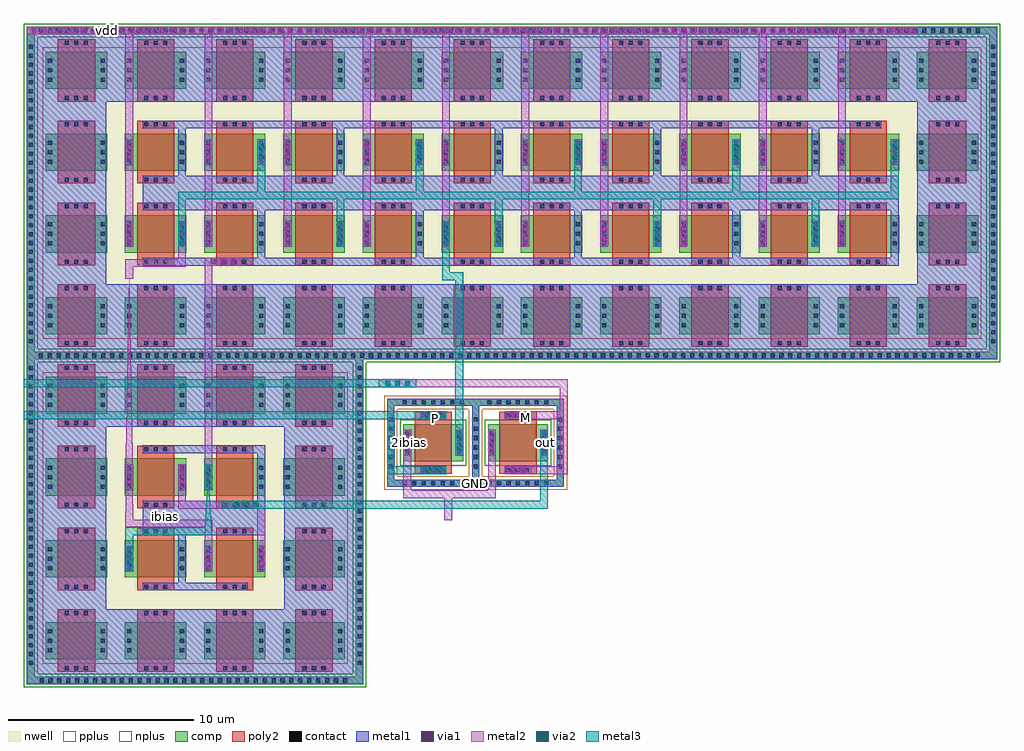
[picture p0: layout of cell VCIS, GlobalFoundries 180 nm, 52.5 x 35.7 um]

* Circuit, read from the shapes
.subckt VCIS 2ibias GND M P ibias out vdd
XM1 vdd P 2ibias GND nfet_03v3 w=2u l=2u
XM2 out M 2ibias GND nfet_03v3 w=2u l=2u
XM3 vdd vdd vdd vdd pfet_03v3 w=2u l=2u m=40
XM4 ibias ibias n1 vdd pfet_03v3 w=2u l=2u m=2
XM5 out ibias n2 vdd pfet_03v3 w=2u l=2u m=2
XM6 n3 n1 vdd vdd pfet_03v3 w=2u l=2u m=10
XM7 n1 n1 vdd vdd pfet_03v3 w=2u l=2u m=10
.ends

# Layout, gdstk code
from math import pi, radians
import gdstk
lib = gdstk.Library(unit=1e-6, precision=1e-09)
def R(c, l, rs):  # rectangles x0, y0, x1, y1
    for r in rs: c.add(gdstk.rectangle(r[:2], r[2:], *l))
def A(c, l, x, y, w, h, nx, ny, dx, dy):  # array of equal rectangles
    R(c, l, [(x+i*dx, y+j*dy, x+i*dx+w, y+j*dy+h) for i in range(nx) for j in range(ny)])
def P(c, l, *ps):  # polygons
    for p in ps: c.add(gdstk.Polygon(p, *l))
nwell = (21, 0)
comp = (22, 0)
poly2 = (30, 0)
pplus = (31, 0)
nplus = (32, 0)
contact = (33, 0)
metal1 = (34, 0)
via1 = (35, 0)
metal2 = (36, 0)
via2 = (38, 0)
metal3 = (42, 0)

pfet_1 = lib.new_cell('pfet$1')
R(pfet_1, nwell, [(-0.9,-0.44,3.28,2.44)])
R(pfet_1, comp, [(-0.46,0,0,2), (0,0,2.38,2), (2.38,0,2.84,2)])
R(pfet_1, poly2, [(0.19,-0.68,2.19,-0.3), (0.19,-0.3,2.19,2.3), (0.19,2.3,2.19,2.68)])
R(pfet_1, pplus, [(-0.63,-0.24,3.01,2.24)])
A(pfet_1, contact, 0.57, -0.6, 0.22, 0.22, 3, 2, 0.51, 2.98)
A(pfet_1, contact, -0.34, 0.38, 0.22, 0.22, 1, 3, 0, 0.51)
A(pfet_1, contact, 2.5, 0.38, 0.22, 0.22, 1, 3, 0, 0.51)
R(pfet_1, metal1, [(0.49,-0.68,1.89,-0.3), (-0.42,0.3,-0.04,1.7), (2.42,0.3,2.8,1.7), (0.49,2.3,1.89,2.68)])

via_dev = lib.new_cell('via_dev')

via_dev_3 = lib.new_cell('via_dev$3')
R(via_dev_3, metal1, [(0,0,1.4,0.42)])
R(via_dev_3, via1, [(0.305,0.08,0.565,0.34), (0.835,0.08,1.095,0.34)])
R(via_dev_3, metal2, [(0,0,1.4,0.42)])

base1 = lib.new_cell('Base1')
base1.add(gdstk.Reference(pfet_1, (0.9,0.68)))
base1.add(gdstk.Reference(via_dev, (4.46,2.13), rotation=pi/2))
base1.add(gdstk.Reference(via_dev_3, (3.72,0.98), rotation=pi/2))
base1.add(gdstk.Reference(via_dev_3, (0.88,18.46), rotation=pi/2))

via_dev_6 = lib.new_cell('via_dev$6')
R(via_dev_6, comp, [(0,0,0.42,17)])
A(via_dev_6, contact, 0.1, 0.23, 0.22, 0.22, 1, 35, 0, 0.48)
R(via_dev_6, metal1, [(0,0,0.42,17)])

via_dev_7 = lib.new_cell('via_dev$7')
R(via_dev_7, comp, [(0,0,0.42,47)])
A(via_dev_7, contact, 0.1, 0.35, 0.22, 0.22, 1, 97, 0, 0.48)
R(via_dev_7, metal1, [(0,0,0.42,47)])

via_dev_9 = lib.new_cell('via_dev$9')
R(via_dev_9, metal1, [(0,0,0.42,47.92)])
A(via_dev_9, via1, 0.08, 0.245, 0.26, 0.26, 1, 90, 0, 0.53)
R(via_dev_9, metal2, [(0,0,0.42,47.92)])

nfet_1 = lib.new_cell('nfet$1')
R(nfet_1, comp, [(-0.42,0,0,2), (0,0,2.38,2), (2.38,0,2.8,2)])
P(nfet_1, comp, [(-1.28,-1.36),(-1.28,-0.98),(-0.9,-0.98),(3.28,-0.98),(3.28,2.98),(-0.9,2.98),(-0.9,-0.98),(-1.28,-0.98),(-1.28,3.36),(3.66,3.36),(3.66,-1.36)])
R(nfet_1, poly2, [(0.19,-0.66,2.19,-0.3), (0.19,-0.3,2.19,2.3), (0.19,2.3,2.19,2.66)])
P(nfet_1, pplus, [(-1.45,-1.53),(-1.45,-0.81),(-0.73,-0.81),(3.11,-0.81),(3.11,2.81),(-0.73,2.81),(-0.73,-0.81),(-1.45,-0.81),(-1.45,3.53),(3.83,3.53),(3.83,-1.53)])
R(nfet_1, nplus, [(-0.59,-0.24,2.97,2.24)])
A(nfet_1, contact, -0.45, -1.28, 0.22, 0.22, 7, 2, 0.51, 4.34)
A(nfet_1, contact, 0.57, -0.59, 0.22, 0.22, 3, 2, 0.51, 2.96)
A(nfet_1, contact, -1.2, -0.385, 0.22, 0.22, 1, 6, 0, 0.51)
A(nfet_1, contact, 3.36, -0.385, 0.22, 0.22, 1, 6, 0, 0.51)
A(nfet_1, contact, -0.32, 0.38, 0.22, 0.22, 1, 3, 0, 0.51)
A(nfet_1, contact, 2.48, 0.38, 0.22, 0.22, 1, 3, 0, 0.51)
R(nfet_1, metal1, [(0.49,-0.67,1.89,-0.29), (-0.4,0.3,-0.02,1.7), (2.4,0.3,2.78,1.7), (0.49,2.29,1.89,2.67)])
P(nfet_1, metal1, [(-1.28,-1.36),(-1.28,-0.98),(-0.9,-0.98),(3.28,-0.98),(3.28,2.98),(-0.9,2.98),(-0.9,-0.98),(-1.28,-0.98),(-1.28,3.36),(3.66,3.36),(3.66,-1.36)])

via_dev_16 = lib.new_cell('via_dev$16')
R(via_dev_16, metal1, [(0,0,0.42,1.4)])
R(via_dev_16, via1, [(0.08,0.305,0.34,0.565), (0.08,0.835,0.34,1.095)])
R(via_dev_16, metal2, [(0,0,0.42,1.4)])

via_dev_19 = lib.new_cell('via_dev$19')
R(via_dev_19, comp, [(0,0,0.42,5)])
A(via_dev_19, contact, 0.1, 0.23, 0.22, 0.22, 1, 10, 0, 0.48)
R(via_dev_19, metal1, [(0,0,0.42,5)])

via_dev_2 = lib.new_cell('via_dev$2')
R(via_dev_2, metal2, [(0,0,1.4,0.42)])
R(via_dev_2, via2, [(0.305,0.08,0.565,0.34), (0.835,0.08,1.095,0.34)])
R(via_dev_2, metal3, [(0,0,1.4,0.42)])

via_dev_5 = lib.new_cell('via_dev$5')
R(via_dev_5, comp, [(0,0,16.6,0.42)])
A(via_dev_5, contact, 0.27, 0.1, 0.22, 0.22, 34, 1, 0.48, 0)
R(via_dev_5, metal1, [(0,0,16.6,0.42)])

via_dev_8 = lib.new_cell('via_dev$8')
R(via_dev_8, metal1, [(0,0,0.42,2)])
A(via_dev_8, via1, 0.08, 0.34, 0.26, 0.26, 1, 3, 0, 0.53)
R(via_dev_8, metal2, [(0,0,0.42,2)])

via_dev_15 = lib.new_cell('via_dev$15')
R(via_dev_15, metal1, [(0,0,1.4,0.42)])
R(via_dev_15, via1, [(0.305,0.08,0.565,0.34), (0.835,0.08,1.095,0.34)])
R(via_dev_15, metal2, [(0,0,1.4,0.42)])
R(via_dev_15, via2, [(0.305,0.08,0.565,0.34), (0.835,0.08,1.095,0.34)])
R(via_dev_15, metal3, [(0,0,1.4,0.42)])

via_dev_12 = lib.new_cell('via_dev$12')
R(via_dev_12, metal2, [(0,0,0.42,2)])
A(via_dev_12, via2, 0.08, 0.34, 0.26, 0.26, 1, 3, 0, 0.53)
R(via_dev_12, metal3, [(0,0,0.42,2)])

via_dev_14 = lib.new_cell('via_dev$14')
R(via_dev_14, metal1, [(0,0,0.42,1.4)])
R(via_dev_14, via1, [(0.08,0.305,0.34,0.565), (0.08,0.835,0.34,1.095)])
R(via_dev_14, metal2, [(0,0,0.42,1.4)])
R(via_dev_14, via2, [(0.08,0.305,0.34,0.565), (0.08,0.835,0.34,1.095)])
R(via_dev_14, metal3, [(0,0,0.42,1.4)])

vcis = lib.new_cell('VCIS')
R(vcis, nwell, [(-6.77,-12.21,11.65,6.01), (-6.04,-11.14,10.92,4.94), (-6.77,5.27,45.73,23.49)])
R(vcis, comp, [(-6.61,-12.05,-6.135,-11.63), (10.745,-12.05,11.49,-11.63), (11.07,-12.05,11.49,-11.235), (-6.61,-11.885,-6.19,-11.275), (-6.61,5.26,-6.19,6.17), (11.07,5.305,11.49,5.765), (10.73,5.43,11.49,5.85), (40.385,5.43,45.57,5.85), (45.15,5.53,45.57,6.06), (-6.61,22.485,-6.19,23.33), (45.15,22.52,45.57,23.18), (40.27,22.91,45.57,23.33)])
R(vcis, pplus, [(-5.77,-10.94,10.65,4.74), (-5.77,6.54,44.73,22.22)])
R(vcis, nplus, [(-6.77,-12.21,11.65,-11.47), (-6.77,-12.07,-6.03,23.49), (10.91,-12.07,11.65,5.87), (-6.63,5.27,45.73,6.01)])
P(vcis, nplus, [(44.99,5.27),(44.99,23.49),(45.73,23.49),(45.73,5.68),(45.73,5.27)],
  [(-6.77,22.75),(-6.77,23.49),(45.73,23.49),(45.73,23.08),(45.73,22.75)])
A(vcis, metal1, -0.39, -11.4, 1.4, 0.42, 3, 2, 4.26, 2.98)
A(vcis, metal1, -0.39, -7, 1.4, 0.42, 3, 2, 4.26, 2.98)
A(vcis, metal1, -0.39, -2.6, 1.4, 0.42, 3, 2, 4.26, 2.98)
A(vcis, metal1, -0.39, 6.08, 1.4, 0.42, 3, 2, 4.26, 2.98)
A(vcis, metal1, 16.65, 6.08, 1.4, 0.42, 3, 2, 4.26, 2.98)
A(vcis, metal1, 29.43, 6.08, 1.4, 0.42, 3, 2, 4.26, 2.98)
A(vcis, metal1, 29.43, 10.48, 1.4, 0.42, 3, 2, 4.26, 4.4)
A(vcis, metal1, -0.39, 14.88, 1.4, 0.42, 3, 2, 4.26, 2.98)
A(vcis, metal1, 16.65, 14.88, 1.4, 0.42, 3, 2, 4.26, 2.98)
R(vcis, metal1, [(-6.61,-12.05,-6.06,-11.63), (-6.61,-12.05,-6.19,-11.21), (10.835,-12.05,11.49,-11.63), (11.07,-11.87,11.49,-11.19), (-6.225,-11.845,11.22,-8), (-4.65,-11.4,-3.25,-10.98), (-4.65,-11.4,-3.25,-10.98), (-0.39,-11.4,1.01,-10.98), (8.13,-11.4,9.53,-10.98), (-6.46,-10.69,-2.34,2.935), (7.22,-9.85,11.285,2.54), (-4.65,-8.42,-3.25,-8), (-4.65,-8.42,-3.25,-8), (-0.39,-8.42,1.01,-8), (8.13,-8.42,9.53,-8), (-4.65,-7,-3.25,-6.58), (-4.65,-7,-3.25,-6.58), (-0.39,-7,1.01,-6.58), (-0.39,-7,5.27,-6.58), (8.13,-7,9.53,-6.58), (-4.65,-4.02,-3.25,-3.6), (-4.65,-4.02,-3.25,-3.6), (-0.39,-4.02,1.01,-3.6), (-0.39,-4.02,6.2,-2.18), (8.13,-4.02,9.53,-3.6), (-4.65,-2.6,-3.25,-2.18), (-4.65,-2.6,-3.25,-2.18), (-0.39,-2.6,1.01,-2.18), (8.13,-2.6,9.53,-2.18), (-4.65,0.38,-3.25,0.8), (-4.65,0.38,-3.25,0.8), (-0.39,0.38,1.01,0.8), (-0.39,0.38,5.27,0.8), (8.13,0.38,9.53,0.8), (-6.41,1.64,-2.34,23.005), (-6.38,1.795,11.125,5.66), (-4.65,1.8,-3.25,2.22), (-4.65,1.8,-3.25,2.22), (-4.65,1.8,-3.25,2.22), (-4.65,1.8,-3.25,2.22), (-0.39,1.8,1.01,2.22), (-0.39,1.8,1.01,2.22), (-0.39,1.8,1.01,2.22), (-0.39,1.8,1.01,2.22), (3.87,1.8,5.27,2.22), (3.87,1.8,5.27,2.22), (8.13,1.8,9.53,2.22), (8.13,1.8,9.53,2.22), (8.13,1.8,9.53,2.22), (8.13,1.8,9.53,2.22), (-4.65,4.78,-3.25,5.2), (-4.65,4.78,-3.25,5.2), (-4.65,4.78,-3.25,5.2), (-4.65,4.78,-3.25,5.2), (-0.39,4.78,1.01,5.2), (-0.39,4.78,1.01,5.2), (-0.39,4.78,1.01,5.2), (-0.39,4.78,1.01,5.2), (3.87,4.78,5.27,5.2), (3.87,4.78,5.27,5.2), (8.13,4.78,9.53,5.2), (8.13,4.78,9.53,5.2), (8.13,4.78,9.53,5.2), (8.13,4.78,9.53,5.2), (11.07,5.225,11.49,5.85), (-6.61,5.23,-6.19,6.165), (10.64,5.43,11.49,5.85), (40.435,5.43,45.57,5.85), (-6.375,5.47,45.425,9.48), (45.15,5.705,45.57,6.405), (-4.65,6.08,-3.25,6.5), (-4.65,6.08,-3.25,6.5), (-0.39,6.08,1.01,6.5), (8.13,6.08,9.53,6.5), (12.39,6.08,13.79,6.5), (12.39,6.08,13.79,6.5), (16.65,6.08,18.05,6.5), (25.17,6.08,26.57,6.5), (29.43,6.08,30.83,6.5), (37.95,6.08,39.35,6.5), (42.21,6.08,43.61,6.5), (42.21,6.08,43.61,6.5), (41.285,6.63,45.35,23.235), (-4.65,9.06,-3.25,9.48), (-4.65,9.06,-3.25,9.48), (-0.39,9.06,1.01,9.48), (8.13,9.06,9.53,9.48), (12.39,9.06,13.79,9.48), (12.39,9.06,13.79,9.48), (16.65,9.06,18.05,9.48), (25.17,9.06,26.57,9.48), (29.43,9.06,30.83,9.48), (37.95,9.06,39.35,9.48), (42.21,9.06,43.61,9.48), (42.21,9.06,43.61,9.48), (-4.65,10.48,-3.25,10.9), (-4.65,10.48,-3.25,10.9), (-4.65,10.48,-3.25,10.9), (-4.65,10.48,-3.25,10.9), (-0.39,10.48,35.09,10.9), (-0.39,10.48,1.01,10.9), (-0.39,10.48,1.01,10.9), (-0.39,10.48,1.01,10.9), (-0.39,10.48,1.01,10.9), (3.87,10.48,5.27,10.9), (3.87,10.48,5.27,10.9), (8.13,10.48,9.53,10.9), (8.13,10.48,9.53,10.9), (8.13,10.48,9.53,10.9), (8.13,10.48,9.53,10.9), (12.39,10.48,13.79,10.9), (12.39,10.48,13.79,10.9), (12.39,10.48,13.79,10.9), (12.39,10.48,13.79,10.9), (16.65,10.48,18.05,10.9), (16.65,10.48,18.05,10.9), (16.65,10.48,18.05,10.9), (16.65,10.48,18.05,10.9), (20.91,10.48,22.31,10.9), (20.91,10.48,22.31,10.9), (25.17,10.48,26.57,10.9), (25.17,10.48,26.57,10.9), (25.17,10.48,26.57,10.9), (25.17,10.48,26.57,10.9), (29.43,10.48,30.83,10.9), (29.43,10.48,30.83,10.9), (29.43,10.48,30.83,10.9), (37.95,10.48,39.35,10.9), (37.95,10.48,39.35,10.9), (37.95,10.48,39.35,10.9), (42.21,10.48,43.61,10.9), (42.21,10.48,43.61,10.9), (42.21,10.48,43.61,10.9), (42.21,10.48,43.61,10.9), (-4.65,13.46,-3.25,13.88), (-4.65,13.46,-3.25,13.88), (-4.65,13.46,-3.25,13.88), (-4.65,13.46,-3.25,13.88), (-0.39,13.46,40.28,15.3), (-0.39,13.46,1.01,13.88), (-0.39,13.46,1.01,13.88), (-0.39,13.46,1.01,13.88), (-0.39,13.46,1.01,13.88), (3.87,13.46,5.27,13.88), (3.87,13.46,5.27,13.88), (8.13,13.46,9.53,13.88), (8.13,13.46,9.53,13.88), (8.13,13.46,9.53,13.88), (8.13,13.46,9.53,13.88), (12.39,13.46,13.79,13.88), (12.39,13.46,13.79,13.88), (12.39,13.46,13.79,13.88), (12.39,13.46,13.79,13.88), (16.65,13.46,18.05,13.88), (16.65,13.46,18.05,13.88), (16.65,13.46,18.05,13.88), (16.65,13.46,18.05,13.88), (20.91,13.46,22.31,13.88), (20.91,13.46,22.31,13.88), (25.17,13.46,26.57,13.88), (25.17,13.46,26.57,13.88), (25.17,13.46,26.57,13.88), (25.17,13.46,26.57,13.88), (29.43,13.46,30.83,13.88), (29.43,13.46,30.83,13.88), (29.43,13.46,30.83,13.88), (29.43,13.46,30.83,13.88), (33.69,13.46,35.09,13.88), (33.69,13.46,35.09,13.88), (37.95,13.46,39.35,13.88), (37.95,13.46,39.35,13.88), (37.95,13.46,39.35,13.88), (37.95,13.46,39.35,13.88), (42.21,13.46,43.61,13.88), (42.21,13.46,43.61,13.88), (42.21,13.46,43.61,13.88), (42.21,13.46,43.61,13.88), (-4.65,14.88,-3.25,15.3), (-4.65,14.88,-3.25,15.3), (-0.39,14.88,1.01,15.3), (8.13,14.88,9.53,15.3), (12.39,14.88,13.79,15.3), (12.39,14.88,13.79,15.3), (16.65,14.88,18.05,15.3), (25.17,14.88,26.57,15.3), (29.43,14.88,30.83,15.3), (37.95,14.88,39.35,15.3), (42.21,14.88,43.61,15.3), (42.21,14.88,43.61,15.3), (-4.65,17.86,-3.25,18.28), (-4.65,17.86,-3.25,18.28), (-0.39,17.86,35.09,18.28), (-0.39,17.86,1.01,18.28), (8.13,17.86,9.53,18.28), (12.39,17.86,13.79,18.28), (12.39,17.86,13.79,18.28), (16.65,17.86,18.05,18.28), (25.17,17.86,26.57,18.28), (29.43,17.86,30.83,18.28), (29.43,17.86,30.83,18.28), (37.95,17.86,39.35,18.28), (37.95,17.86,39.35,18.28), (42.21,17.86,43.61,18.28), (42.21,17.86,43.61,18.28), (-6.23,19.28,45.36,23.185), (-4.65,19.28,-3.25,19.7), (-4.65,19.28,-3.25,19.7), (-4.65,19.28,-3.25,19.7), (-4.65,19.28,-3.25,19.7), (-0.39,19.28,1.01,19.7), (-0.39,19.28,1.01,19.7), (-0.39,19.28,1.01,19.7), (-0.39,19.28,1.01,19.7), (3.87,19.28,5.27,19.7), (3.87,19.28,5.27,19.7), (8.13,19.28,9.53,19.7), (8.13,19.28,9.53,19.7), (8.13,19.28,9.53,19.7), (8.13,19.28,9.53,19.7), (12.39,19.28,13.79,19.7), (12.39,19.28,13.79,19.7), (12.39,19.28,13.79,19.7), (12.39,19.28,13.79,19.7), (16.65,19.28,18.05,19.7), (16.65,19.28,18.05,19.7), (16.65,19.28,18.05,19.7), (16.65,19.28,18.05,19.7), (20.91,19.28,22.31,19.7), (20.91,19.28,22.31,19.7), (25.17,19.28,26.57,19.7), (25.17,19.28,26.57,19.7), (25.17,19.28,26.57,19.7), (25.17,19.28,26.57,19.7), (29.43,19.28,30.83,19.7), (29.43,19.28,30.83,19.7), (29.43,19.28,30.83,19.7), (29.43,19.28,30.83,19.7), (33.69,19.28,35.09,19.7), (33.69,19.28,35.09,19.7), (37.95,19.28,39.35,19.7), (37.95,19.28,39.35,19.7), (37.95,19.28,39.35,19.7), (37.95,19.28,39.35,19.7), (42.21,19.28,43.61,19.7), (42.21,19.28,43.61,19.7), (42.21,19.28,43.61,19.7), (42.21,19.28,43.61,19.7), (-4.65,22.26,-3.25,22.68), (-4.65,22.26,-3.25,22.68), (-4.65,22.26,-3.25,22.68), (-4.65,22.26,-3.25,22.68), (-0.39,22.26,1.01,22.68), (-0.39,22.26,1.01,22.68), (-0.39,22.26,1.01,22.68), (-0.39,22.26,1.01,22.68), (3.87,22.26,5.27,22.68), (3.87,22.26,5.27,22.68), (8.13,22.26,9.53,22.68), (8.13,22.26,9.53,22.68), (8.13,22.26,9.53,22.68), (8.13,22.26,9.53,22.68), (12.39,22.26,13.79,22.68), (12.39,22.26,13.79,22.68), (12.39,22.26,13.79,22.68), (12.39,22.26,13.79,22.68), (16.65,22.26,18.05,22.68), (16.65,22.26,18.05,22.68), (16.65,22.26,18.05,22.68), (16.65,22.26,18.05,22.68), (20.91,22.26,22.31,22.68), (20.91,22.26,22.31,22.68), (25.17,22.26,26.57,22.68), (25.17,22.26,26.57,22.68), (25.17,22.26,26.57,22.68), (25.17,22.26,26.57,22.68), (29.43,22.26,30.83,22.68), (29.43,22.26,30.83,22.68), (29.43,22.26,30.83,22.68), (29.43,22.26,30.83,22.68), (33.69,22.26,35.09,22.68), (33.69,22.26,35.09,22.68), (37.95,22.26,39.35,22.68), (37.95,22.26,39.35,22.68), (37.95,22.26,39.35,22.68), (37.95,22.26,39.35,22.68), (42.21,22.26,43.61,22.68), (42.21,22.26,43.61,22.68), (42.21,22.26,43.61,22.68), (42.21,22.26,43.61,22.68), (45.15,22.555,45.57,23.175), (-6.61,22.565,-6.19,23.33)])
P(vcis, metal1, [(33.69,17.86),(33.69,18.28),(39.35,18.28),(39.35,18.04),(39.35,17.86)],
  [(33.69,10.48),(33.69,10.9),(40.28,10.9),(40.28,10.57),(40.28,10.48)],
  [(40.185,22.91),(40.185,23.33),(45.57,23.33),(45.57,22.91),(40.27,22.91)])
vcis.add(gdstk.FlexPath([(40.07,12.685),(40.07,13.615)], 0.42, ends="flush", simple_path=True, layer=34, datatype=0))  # metal1
vcis.add(gdstk.FlexPath([(40.07,12.685),(40.07,10.835)], 0.42, ends="flush", simple_path=True, layer=34, datatype=0))  # metal1
vcis.add(gdstk.FlexPath([(5.085,0.59),(5.99,0.59),(5.99,-2.55)], 0.42, ends="flush", simple_path=True, layer=34, datatype=0))  # metal1
vcis.add(gdstk.FlexPath([(1.725,-3.82),(1.725,-6.705)], 0.42, ends="flush", simple_path=True, layer=34, datatype=0))  # metal1
vcis.add(gdstk.FlexPath([(35.81,18.175),(35.81,13.46)], 0.42, ends="flush", simple_path=True, layer=34, datatype=0))  # metal1
vcis.add(gdstk.FlexPath([(31.55,10.705),(31.55,13.975)], 0.42, ends="flush", simple_path=True, layer=34, datatype=0))  # metal1
vcis.add(gdstk.FlexPath([(27.29,18.085),(27.29,14.825)], 0.42, ends="flush", simple_path=True, layer=34, datatype=0))  # metal1
vcis.add(gdstk.FlexPath([(23.03,10.665),(23.03,14.415)], 0.42, ends="flush", simple_path=True, layer=34, datatype=0))  # metal1
vcis.add(gdstk.FlexPath([(18.77,18),(18.77,14.37)], 0.42, ends="flush", simple_path=True, layer=34, datatype=0))  # metal1
vcis.add(gdstk.FlexPath([(14.51,10.59),(14.51,14.4)], 0.42, ends="flush", simple_path=True, layer=34, datatype=0))  # metal1
vcis.add(gdstk.FlexPath([(10.25,18.05),(10.25,14.68)], 0.42, ends="flush", simple_path=True, layer=34, datatype=0))  # metal1
vcis.add(gdstk.FlexPath([(5.99,10.655),(5.99,13.7)], 0.42, ends="flush", simple_path=True, layer=34, datatype=0))  # metal1
vcis.add(gdstk.FlexPath([(1.73,18.18),(1.73,15.18)], 0.42, ends="flush", simple_path=True, layer=34, datatype=0))  # metal1
vcis.add(gdstk.FlexPath([(18.4,0.68),(18.4,-1.825),(13.84,-1.825),(13.84,0.68)], 0.42, ends="flush", simple_path=True, layer=36, datatype=0))  # metal2
vcis.add(gdstk.FlexPath([(16.05,-1.83),(16.05,-3.215)], 0.42, ends="flush", simple_path=True, layer=36, datatype=0))  # metal2
vcis.add(gdstk.FlexPath([(20.07,-0.53),(22.265,-0.53),(22.265,2.425),(19.54,2.425),(19.54,2.42)], 0.42, ends="flush", simple_path=True, layer=36, datatype=0))  # metal2
vcis.add(gdstk.FlexPath([(22.265,2.425),(22.265,4.145),(12.385,4.145)], 0.42, ends="flush", simple_path=True, layer=36, datatype=0))  # metal2
vcis.add(gdstk.FlexPath([(37.23,12.445),(37.23,23.33)], 0.42, ends="flush", simple_path=True, layer=36, datatype=0))  # metal2
vcis.add(gdstk.FlexPath([(3.15,-0.635),(3.15,10.69),(3.89,10.69),(3.89,10.625),(3.89,10.6)], 0.42, ends="flush", simple_path=True, layer=36, datatype=0))  # metal2
vcis.add(gdstk.FlexPath([(3.15,-5.035),(3.15,-3.4),(-1.11,-3.4),(-1.11,9.955),(-1.11,-1.165)], 0.42, ends="flush", simple_path=True, layer=36, datatype=0))  # metal2
vcis.add(gdstk.FlexPath([(-1.11,9.765),(-1.11,10.62),(1.73,10.62),(1.73,11.915)], 0.42, ends="flush", simple_path=True, layer=36, datatype=0))  # metal2
vcis.add(gdstk.FlexPath([(1.73,-0.635),(1.73,-2.39),(5.99,-2.39),(5.99,-5.035)], 0.42, ends="flush", simple_path=True, layer=36, datatype=0))  # metal2
vcis.add(gdstk.FlexPath([(-1.11,12.445),(-1.11,23.33)], 0.42, ends="flush", simple_path=True, layer=36, datatype=0))  # metal2
vcis.add(gdstk.FlexPath([(3.15,12.445),(3.15,23.15)], 0.42, ends="flush", simple_path=True, layer=36, datatype=0))  # metal2
vcis.add(gdstk.FlexPath([(7.41,12.445),(7.41,23.125)], 0.42, ends="flush", simple_path=True, layer=36, datatype=0))  # metal2
vcis.add(gdstk.FlexPath([(11.67,12.445),(11.67,23.075)], 0.42, ends="flush", simple_path=True, layer=36, datatype=0))  # metal2
vcis.add(gdstk.FlexPath([(15.93,12.445),(15.93,23.085)], 0.42, ends="flush", simple_path=True, layer=36, datatype=0))  # metal2
vcis.add(gdstk.FlexPath([(20.19,12.445),(20.19,23.075)], 0.42, ends="flush", simple_path=True, layer=36, datatype=0))  # metal2
vcis.add(gdstk.FlexPath([(24.45,12.445),(24.45,23.09)], 0.42, ends="flush", simple_path=True, layer=36, datatype=0))  # metal2
vcis.add(gdstk.FlexPath([(28.71,12.445),(28.71,23.125)], 0.42, ends="flush", simple_path=True, layer=36, datatype=0))  # metal2
vcis.add(gdstk.FlexPath([(32.965,12.445),(32.965,23.33)], 0.42, ends="flush", simple_path=True, layer=36, datatype=0))  # metal2
vcis.add(gdstk.FlexPath([(-1.32,23.12),(33.175,23.12),(33.175,23.06)], 0.42, ends="flush", simple_path=True, layer=36, datatype=0))  # metal2
vcis.add(gdstk.FlexPath([(21.2,1.65),(21.2,-2.39),(3.87,-2.39)], 0.42, ends="flush", simple_path=True, layer=42, datatype=0))  # metal3
vcis.add(gdstk.FlexPath([(16.64,1.28),(16.64,9.895),(15.93,9.895),(15.93,12.435)], 0.42, ends="flush", simple_path=True, layer=42, datatype=0))  # metal3
vcis.add(gdstk.FlexPath([(15.245,2.425),(-6.77,2.425)], 0.42, ends="flush", simple_path=True, layer=42, datatype=0))  # metal3
vcis.add(gdstk.FlexPath([(14.975,2.425),(12.97,2.425),(12.97,-0.535),(14.975,-0.535),(14.975,-0.535)], 0.42, ends="flush", simple_path=True, layer=42, datatype=0))  # metal3
vcis.add(gdstk.FlexPath([(31.55,14.25),(35.805,14.25),(35.805,12.445),(35.81,12.445)], 0.42, ends="flush", simple_path=True, layer=42, datatype=0))  # metal3
vcis.add(gdstk.FlexPath([(35.805,14.25),(40.07,14.25),(40.07,16.315),(40.07,16.315)], 0.42, ends="flush", simple_path=True, layer=42, datatype=0))  # metal3
vcis.add(gdstk.FlexPath([(1.73,12.48),(1.73,14.25),(31.55,14.25),(31.55,16.315)], 0.42, ends="flush", simple_path=True, layer=42, datatype=0))  # metal3
vcis.add(gdstk.FlexPath([(-1.11,-5.035),(-1.11,-3.81),(3.15,-3.81),(3.15,-0.65),(3.15,-0.855)], 0.42, ends="flush", simple_path=True, layer=42, datatype=0))  # metal3
vcis.add(gdstk.FlexPath([(27.29,12.445),(27.29,14.345)], 0.42, ends="flush", simple_path=True, layer=42, datatype=0))  # metal3
vcis.add(gdstk.FlexPath([(23.03,16.315),(23.03,14.215)], 0.42, ends="flush", simple_path=True, layer=42, datatype=0))  # metal3
vcis.add(gdstk.FlexPath([(18.77,12.445),(18.77,14.23)], 0.42, ends="flush", simple_path=True, layer=42, datatype=0))  # metal3
vcis.add(gdstk.FlexPath([(14.51,16.315),(14.51,14.265)], 0.42, ends="flush", simple_path=True, layer=42, datatype=0))  # metal3
vcis.add(gdstk.FlexPath([(10.25,11.915),(10.25,14.33)], 0.42, ends="flush", simple_path=True, layer=42, datatype=0))  # metal3
vcis.add(gdstk.FlexPath([(5.99,16.315),(5.99,14.22)], 0.42, ends="flush", simple_path=True, layer=42, datatype=0))  # metal3
vcis.add(gdstk.FlexPath([(13.45,4.145),(-6.77,4.145)], 0.42, ends="flush", simple_path=True, layer=42, datatype=0))  # metal3
vcis.add(gdstk.Reference(base1, (-1.78,-2.58)))
vcis.add(gdstk.Reference(via_dev_6, (10.795,5.43), rotation=pi/2))
vcis.add(gdstk.Reference(via_dev_7, (40.675,5.43), rotation=pi/2))
vcis.add(gdstk.Reference(via_dev_7, (40.675,22.91), rotation=pi/2))
vcis.add(gdstk.Reference(via_dev_9, (41.31,22.91), rotation=pi/2))
vcis.add(gdstk.Reference(nfet_1, (18.61,-0.055)))
vcis.add(gdstk.Reference(via_dev_16, (20.505,-0.74), rotation=pi/2))
vcis.add(gdstk.Reference(via_dev_16, (20.505,2.215), rotation=pi/2))
vcis.add(gdstk.Reference(via_dev_19, (44.875,5.43), rotation=pi/2))
vcis.add(gdstk.Reference(pfet_1, (33.2,19.98)))
vcis.add(gdstk.Reference(pfet_1, (28.94,19.98)))
vcis.add(gdstk.Reference(via_dev, (32.5,21.43), rotation=pi/2))
vcis.add(gdstk.Reference(pfet_1, (37.46,19.98)))
vcis.add(gdstk.Reference(pfet_1, (33.2,19.98)))
vcis.add(gdstk.Reference(pfet_1, (28.94,19.98)))
vcis.add(gdstk.Reference(via_dev, (32.5,21.43), rotation=pi/2))
vcis.add(gdstk.Reference(pfet_1, (37.46,19.98)))
vcis.add(gdstk.Reference(pfet_1, (20.42,6.78)))
vcis.add(gdstk.Reference(pfet_1, (20.42,19.98)))
vcis.add(gdstk.Reference(pfet_1, (24.68,6.78)))
vcis.add(gdstk.Reference(pfet_1, (20.42,11.18)))
vcis.add(gdstk.Reference(pfet_1, (20.42,15.58)))
vcis.add(gdstk.Reference(via_dev, (19.72,12.63), rotation=pi/2))
vcis.add(gdstk.Reference(pfet_1, (24.68,11.18)))
vcis.add(gdstk.Reference(pfet_1, (20.42,11.18)))
vcis.add(gdstk.Reference(via_dev, (19.72,21.43), rotation=pi/2))
vcis.add(gdstk.Reference(via_dev, (19.72,12.63), rotation=pi/2))
vcis.add(gdstk.Reference(pfet_1, (24.68,11.18)))
vcis.add(gdstk.Reference(pfet_1, (33.2,6.78)))
vcis.add(gdstk.Reference(pfet_1, (28.94,6.78)))
vcis.add(gdstk.Reference(pfet_1, (37.46,6.78)))
vcis.add(gdstk.Reference(pfet_1, (33.2,11.18)))
vcis.add(gdstk.Reference(pfet_1, (28.94,11.18)))
vcis.add(gdstk.Reference(via_dev, (32.5,12.63), rotation=pi/2))
vcis.add(gdstk.Reference(pfet_1, (37.46,11.18)))
vcis.add(gdstk.Reference(pfet_1, (33.2,11.18)))
vcis.add(gdstk.Reference(pfet_1, (28.94,11.18)))
vcis.add(gdstk.Reference(via_dev, (32.5,12.63), rotation=pi/2))
vcis.add(gdstk.Reference(pfet_1, (37.46,11.18)))
vcis.add(gdstk.Reference(via_dev_2, (23.24,15.88), rotation=pi/2))
vcis.add(gdstk.Reference(via_dev_2, (27.5,11.48), rotation=pi/2))
vcis.add(gdstk.Reference(via_dev_2, (31.76,15.88), rotation=pi/2))
vcis.add(gdstk.Reference(via_dev, (19.72,12.63), rotation=pi/2))
vcis.add(gdstk.Reference(via_dev, (19.72,12.63), rotation=pi/2))
vcis.add(gdstk.Reference(via_dev_2, (36.015,11.48), rotation=pi/2))
vcis.add(gdstk.Reference(via_dev_3, (20.4,15.88), rotation=pi/2))
vcis.add(gdstk.Reference(via_dev_3, (20.4,11.48), rotation=pi/2))
vcis.add(gdstk.Reference(via_dev_3, (23.24,15.88), rotation=pi/2))
vcis.add(gdstk.Reference(via_dev_3, (24.66,15.88), rotation=pi/2))
vcis.add(gdstk.Reference(via_dev_3, (24.66,11.48), rotation=pi/2))
vcis.add(gdstk.Reference(via_dev_5, (45.57,6.03), rotation=pi/2))
vcis.add(gdstk.Reference(via_dev_3, (27.5,11.48), rotation=pi/2))
vcis.add(gdstk.Reference(via_dev_3, (28.92,15.88), rotation=pi/2))
vcis.add(gdstk.Reference(via_dev_3, (28.92,11.48), rotation=pi/2))
vcis.add(gdstk.Reference(via_dev_3, (31.76,15.88), rotation=pi/2))
vcis.add(gdstk.Reference(pfet_1, (24.68,19.98)))
vcis.add(gdstk.Reference(pfet_1, (20.42,19.98)))
vcis.add(gdstk.Reference(via_dev_3, (31.76,15.88), rotation=pi/2))
vcis.add(gdstk.Reference(via_dev_3, (28.92,11.48), rotation=pi/2))
vcis.add(gdstk.Reference(via_dev_3, (28.92,15.88), rotation=pi/2))
vcis.add(gdstk.Reference(via_dev_3, (27.5,11.48), rotation=pi/2))
vcis.add(gdstk.Reference(pfet_1, (24.68,15.58)))
vcis.add(gdstk.Reference(via_dev_3, (24.66,11.48), rotation=pi/2))
vcis.add(gdstk.Reference(via_dev_3, (24.66,15.88), rotation=pi/2))
vcis.add(gdstk.Reference(via_dev_3, (23.24,15.88), rotation=pi/2))
vcis.add(gdstk.Reference(via_dev_3, (20.4,11.48), rotation=pi/2))
vcis.add(gdstk.Reference(via_dev_3, (20.4,15.88), rotation=pi/2))
vcis.add(gdstk.Reference(via_dev, (19.72,21.43), rotation=pi/2))
vcis.add(gdstk.Reference(via_dev, (19.72,12.63), rotation=pi/2))
vcis.add(gdstk.Reference(via_dev, (19.72,12.63), rotation=pi/2))
vcis.add(gdstk.Reference(via_dev_3, (33.175,15.88), rotation=pi/2))
vcis.add(gdstk.Reference(via_dev_3, (33.175,11.48), rotation=pi/2))
vcis.add(gdstk.Reference(pfet_1, (24.68,19.98)))
vcis.add(gdstk.Reference(via_dev_3, (36.015,11.48), rotation=pi/2))
vcis.add(gdstk.Reference(via_dev_3, (36.015,11.48), rotation=pi/2))
vcis.add(gdstk.Reference(via_dev_3, (33.175,11.48), rotation=pi/2))
vcis.add(gdstk.Reference(via_dev_3, (33.175,15.88), rotation=pi/2))
vcis.add(gdstk.Reference(pfet_1, (33.2,15.58)))
vcis.add(gdstk.Reference(pfet_1, (28.94,15.58)))
vcis.add(gdstk.Reference(pfet_1, (41.72,15.58)))
vcis.add(gdstk.Reference(pfet_1, (41.72,19.98)))
vcis.add(gdstk.Reference(pfet_1, (41.72,19.98)))
vcis.add(gdstk.Reference(pfet_1, (41.72,6.78)))
vcis.add(gdstk.Reference(pfet_1, (41.72,11.18)))
vcis.add(gdstk.Reference(pfet_1, (41.72,11.18)))
vcis.add(gdstk.Reference(via_dev_3, (37.44,15.88), rotation=pi/2))
vcis.add(gdstk.Reference(via_dev_3, (37.44,11.48), rotation=pi/2))
vcis.add(gdstk.Reference(via_dev_3, (37.44,11.48), rotation=pi/2))
vcis.add(gdstk.Reference(via_dev_3, (37.44,15.88), rotation=pi/2))
vcis.add(gdstk.Reference(via_dev_2, (40.28,15.88), rotation=pi/2))
vcis.add(gdstk.Reference(via_dev_3, (40.28,15.88), rotation=pi/2))
vcis.add(gdstk.Reference(via_dev_3, (40.28,15.88), rotation=pi/2))
vcis.add(gdstk.Reference(via_dev_19, (44.875,22.91), rotation=pi/2))
vcis.add(gdstk.Reference(pfet_1, (37.46,15.58)))
vcis.add(gdstk.Reference(pfet_1, (7.64,15.58)))
vcis.add(gdstk.Reference(via_dev_3, (14.72,15.88), rotation=pi/2))
vcis.add(gdstk.Reference(via_dev_3, (11.88,11.48), rotation=pi/2))
vcis.add(gdstk.Reference(via_dev_3, (11.88,15.88), rotation=pi/2))
vcis.add(gdstk.Reference(via_dev_3, (10.46,11.48), rotation=pi/2))
vcis.add(gdstk.Reference(pfet_1, (3.38,19.98)))
vcis.add(gdstk.Reference(via_dev_3, (7.62,11.48), rotation=pi/2))
vcis.add(gdstk.Reference(via_dev_3, (7.62,15.88), rotation=pi/2))
vcis.add(gdstk.Reference(pfet_1, (-5.14,6.78)))
vcis.add(gdstk.Reference(via_dev_3, (6.2,15.88), rotation=pi/2))
vcis.add(gdstk.Reference(via_dev_3, (3.36,11.48), rotation=pi/2))
vcis.add(gdstk.Reference(via_dev_3, (3.36,15.88), rotation=pi/2))
vcis.add(gdstk.Reference(via_dev_3, (1.94,11.48), rotation=pi/2))
vcis.add(gdstk.Reference(pfet_1, (7.64,6.78)))
vcis.add(gdstk.Reference(via_dev_3, (-0.9,11.48), rotation=pi/2))
vcis.add(gdstk.Reference(via_dev, (2.68,12.63), rotation=pi/2))
vcis.add(gdstk.Reference(via_dev, (2.68,12.63), rotation=pi/2))
vcis.add(gdstk.Reference(via_dev_3, (-0.9,15.88), rotation=pi/2))
vcis.add(gdstk.Reference(via_dev_3, (16.14,15.88), rotation=pi/2))
vcis.add(gdstk.Reference(pfet_1, (3.38,11.18)))
vcis.add(gdstk.Reference(pfet_1, (-0.88,11.18)))
vcis.add(gdstk.Reference(via_dev_3, (16.14,11.48), rotation=pi/2))
vcis.add(gdstk.Reference(via_dev, (2.68,12.63), rotation=pi/2))
vcis.add(gdstk.Reference(pfet_1, (-5.14,11.18)))
vcis.add(gdstk.Reference(pfet_1, (7.64,11.18)))
vcis.add(gdstk.Reference(pfet_1, (3.38,11.18)))
vcis.add(gdstk.Reference(pfet_1, (-0.88,11.18)))
vcis.add(gdstk.Reference(via_dev_5, (-6.19,6.03), rotation=pi/2))
vcis.add(gdstk.Reference(via_dev, (2.68,12.63), rotation=pi/2))
vcis.add(gdstk.Reference(pfet_1, (-5.14,11.18)))
vcis.add(gdstk.Reference(pfet_1, (7.64,11.18)))
vcis.add(gdstk.Reference(pfet_1, (11.9,19.98)))
vcis.add(gdstk.Reference(pfet_1, (-0.88,19.98)))
vcis.add(gdstk.Reference(pfet_1, (11.9,11.18)))
vcis.add(gdstk.Reference(via_dev, (2.68,21.43), rotation=pi/2))
vcis.add(gdstk.Reference(pfet_1, (-5.14,19.98)))
vcis.add(gdstk.Reference(pfet_1, (7.64,19.98)))
vcis.add(gdstk.Reference(pfet_1, (3.38,19.98)))
vcis.add(gdstk.Reference(pfet_1, (11.9,11.18)))
vcis.add(gdstk.Reference(pfet_1, (-0.88,19.98)))
vcis.add(gdstk.Reference(via_dev, (2.68,21.43), rotation=pi/2))
vcis.add(gdstk.Reference(pfet_1, (-5.14,19.98)))
vcis.add(gdstk.Reference(pfet_1, (7.64,19.98)))
vcis.add(gdstk.Reference(pfet_1, (11.9,15.58)))
vcis.add(gdstk.Reference(via_dev_8, (4.94,10.48), rotation=pi/2))
vcis.add(gdstk.Reference(pfet_1, (3.38,15.58)))
vcis.add(gdstk.Reference(pfet_1, (11.9,19.98)))
vcis.add(gdstk.Reference(pfet_1, (3.38,6.78)))
vcis.add(gdstk.Reference(pfet_1, (-0.88,6.78)))
vcis.add(gdstk.Reference(pfet_1, (-0.88,15.58)))
vcis.add(gdstk.Reference(via_dev_3, (16.14,11.48), rotation=pi/2))
vcis.add(gdstk.Reference(pfet_1, (-5.14,15.58)))
vcis.add(gdstk.Reference(pfet_1, (11.9,6.78)))
vcis.add(gdstk.Reference(via_dev_3, (16.14,15.88), rotation=pi/2))
vcis.add(gdstk.Reference(via_dev_3, (-0.9,11.48), rotation=pi/2))
vcis.add(gdstk.Reference(via_dev_2, (1.94,11.48), rotation=pi/2))
vcis.add(gdstk.Reference(via_dev_3, (1.94,11.48), rotation=pi/2))
vcis.add(gdstk.Reference(via_dev_3, (3.36,15.88), rotation=pi/2))
vcis.add(gdstk.Reference(via_dev_3, (3.36,11.48), rotation=pi/2))
vcis.add(gdstk.Reference(via_dev_3, (6.2,15.88), rotation=pi/2))
vcis.add(gdstk.Reference(via_dev_2, (6.2,15.88), rotation=pi/2))
vcis.add(gdstk.Reference(via_dev_2, (16.14,11.48), rotation=pi/2))
vcis.add(gdstk.Reference(via_dev_3, (18.98,11.48), rotation=pi/2))
vcis.add(gdstk.Reference(via_dev_2, (18.98,11.48), rotation=pi/2))
vcis.add(gdstk.Reference(pfet_1, (16.16,19.98)))
vcis.add(gdstk.Reference(pfet_1, (16.16,19.98)))
vcis.add(gdstk.Reference(pfet_1, (16.16,6.78)))
vcis.add(gdstk.Reference(pfet_1, (16.16,11.18)))
vcis.add(gdstk.Reference(pfet_1, (16.16,11.18)))
vcis.add(gdstk.Reference(via_dev_3, (18.98,11.48), rotation=pi/2))
vcis.add(gdstk.Reference(pfet_1, (16.16,15.58)))
vcis.add(gdstk.Reference(via_dev_3, (7.62,15.88), rotation=pi/2))
vcis.add(gdstk.Reference(via_dev_3, (7.62,11.48), rotation=pi/2))
vcis.add(gdstk.Reference(via_dev_2, (10.46,11.48), rotation=pi/2))
vcis.add(gdstk.Reference(via_dev_3, (10.46,11.48), rotation=pi/2))
vcis.add(gdstk.Reference(via_dev_3, (11.88,15.88), rotation=pi/2))
vcis.add(gdstk.Reference(via_dev_3, (11.88,11.48), rotation=pi/2))
vcis.add(gdstk.Reference(via_dev_3, (14.72,15.88), rotation=pi/2))
vcis.add(gdstk.Reference(via_dev_2, (14.72,15.88), rotation=pi/2))
vcis.add(gdstk.Reference(via_dev, (2.68,-4.85), rotation=pi/2))
vcis.add(gdstk.Reference(via_dev_2, (3.36,-1.6), rotation=pi/2))
vcis.add(gdstk.Reference(via_dev_3, (-0.9,-6), rotation=pi/2))
vcis.add(gdstk.Reference(via_dev_3, (6.2,-6), rotation=pi/2))
vcis.add(gdstk.Reference(via_dev_3, (3.36,-6), rotation=pi/2))
vcis.add(gdstk.Reference(pfet_1, (-5.14,-1.9)))
vcis.add(gdstk.Reference(pfet_1, (-5.14,-6.3)))
vcis.add(gdstk.Reference(via_dev_3, (-0.9,-1.6), rotation=pi/2))
vcis.add(gdstk.Reference(pfet_1, (7.64,-1.9)))
vcis.add(gdstk.Reference(pfet_1, (7.64,-6.3)))
vcis.add(gdstk.Reference(pfet_1, (3.38,2.5)))
vcis.add(gdstk.Reference(pfet_1, (-0.88,2.5)))
vcis.add(gdstk.Reference(via_dev, (2.68,3.95), rotation=pi/2))
vcis.add(gdstk.Reference(pfet_1, (3.38,-10.7)))
vcis.add(gdstk.Reference(pfet_1, (-0.88,-10.7)))
vcis.add(gdstk.Reference(via_dev, (2.68,-9.25), rotation=pi/2))
vcis.add(gdstk.Reference(via_dev_15, (16.85,0.245), rotation=pi/2))
vcis.add(gdstk.Reference(via_dev_3, (18.61,0.245), rotation=pi/2))
vcis.add(gdstk.Reference(via_dev_3, (14.05,0.245), rotation=pi/2))
vcis.add(gdstk.Reference(pfet_1, (-5.14,-10.7)))
vcis.add(gdstk.Reference(via_dev_12, (6.2,-2.6), rotation=pi/2))
vcis.add(gdstk.Reference(via_dev_14, (15.94,-0.745), rotation=pi/2))
vcis.add(gdstk.Reference(via_dev_14, (15.94,2.215), rotation=pi/2))
vcis.add(gdstk.Reference(nfet_1, (14.05,-0.055)))
vcis.add(gdstk.Reference(pfet_1, (-5.14,2.5)))
vcis.add(gdstk.Reference(via_dev_12, (14.325,3.935), rotation=pi/2))
vcis.add(gdstk.Reference(pfet_1, (7.64,2.5)))
vcis.add(gdstk.Reference(pfet_1, (7.64,-10.7)))
vcis.add(gdstk.Reference(via_dev_5, (11.49,-11.275), rotation=pi/2))
vcis.add(gdstk.Reference(via_dev_5, (-6.19,-11.275), rotation=pi/2))
vcis.add(gdstk.Reference(pfet_1, (3.38,-1.9)))
vcis.add(gdstk.Reference(via_dev_6, (10.835,-12.05), rotation=pi/2))
vcis.add(gdstk.Reference(pfet_1, (3.38,2.5)))
vcis.add(gdstk.Reference(pfet_1, (-0.88,2.5)))
vcis.add(gdstk.Reference(via_dev, (2.68,3.95), rotation=pi/2))
vcis.add(gdstk.Reference(pfet_1, (-5.14,2.5)))
vcis.add(gdstk.Reference(pfet_1, (7.64,2.5)))
vcis.add(gdstk.Reference(via_dev_2, (-0.9,-6), rotation=pi/2))
vcis.add(gdstk.Reference(via_dev_3, (3.36,-1.6), rotation=pi/2))
vcis.add(gdstk.Reference(pfet_1, (3.38,-6.3)))
vcis.add(gdstk.Reference(pfet_1, (-0.88,-6.3)))
vcis.add(gdstk.Reference(via_dev_15, (21.41,0.245), rotation=pi/2))
vcis.add(gdstk.Label('2ibias', (13.96,0.97), layer=34, texttype=10))
vcis.add(gdstk.Label('out', (21.29,0.985), layer=34, texttype=10))
vcis.add(gdstk.Label('GND', (17.5,-1.23), layer=34, texttype=10))
vcis.add(gdstk.Label('M', (20.21,2.29), layer=34, texttype=10))
vcis.add(gdstk.Label('ibias', (0.865,-3.01), layer=34, texttype=10))
vcis.add(gdstk.Label('vdd', (-2.3,23.145), layer=34, texttype=10))
vcis.add(gdstk.Label('P', (15.355,2.26), layer=34, texttype=10))

lib.write_gds('VCIS.gds')
